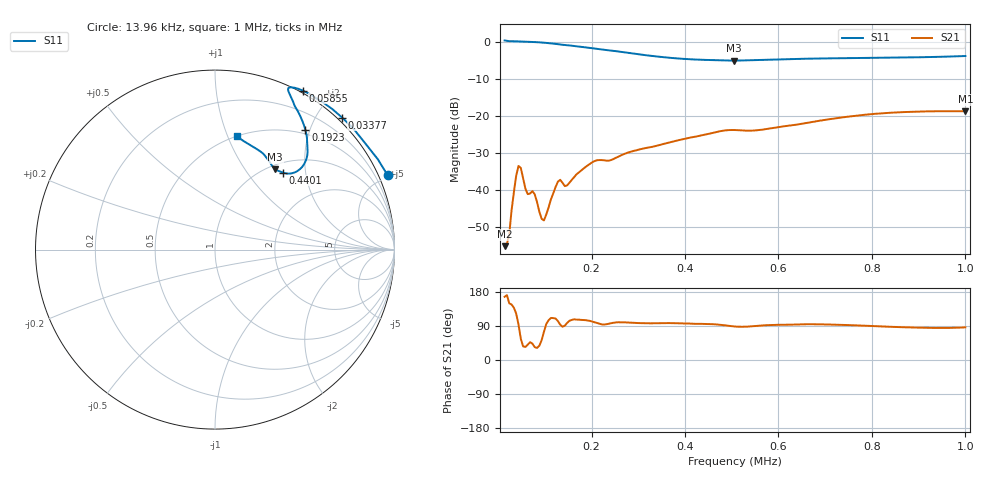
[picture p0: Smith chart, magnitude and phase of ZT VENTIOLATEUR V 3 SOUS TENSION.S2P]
!Agilent Technologies,E5071C,MY46109397,A.09.54
!Date: Mon Jan 01 02:14:59 2001
!Data & Calibration Information:
!Freq	S11:SOLT1(ON)	S21:RESPT(ON)	S12:NONE(--)	S22:NONE(--)
# Hz S RI R 50
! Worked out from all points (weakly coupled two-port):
!   200 points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, 13.96 kHz to 1 MHz, reference 50 ohm
!   highest |S21| = -18.74 dB at 1 MHz (marker M1); lowest = -55.3 dB at 13.96 kHz (marker M2)
!   lowest |S11| = -5.0 dB at 504.5 kHz (marker M3), VSWR 3.54, Z = 53.4 + j69.7 ohm
!   |S11| at or under -10 dB: nowhere
!   S12 and S22 are empty: the file has one direction only
!   S11 on the Smith chart (normalised r, x): 13.96 kHz: -0.56, +4.78; 33.77 kHz: -0.07, +2.35; 58.55 kHz: -0.02, +1.69; 192.3 kHz: 0.43, +1.93; 440.1 kHz: 1.18, +1.51; 1 MHz: 0.50, +1.08
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13955  0.9615 0.4147  -0.00168 0.000393  0 0  0 0
18910  0.9073 0.5032  -0.00184 0.000283  0 0  0 0
23865  0.8333 0.5969  -0.00215 0.00126  0 0  0 0
33775  0.7089 0.7352  -0.00688 0.00617  0 0  0 0
43685  0.6021 0.8197  -0.00131 0.0209  0 0  0 0
48640  0.5559 0.8485  0.0111 0.0163  0 0  0 0
58550  0.4892 0.8858  0.0085 0.00584  0 0  0 0
63505  0.4648 0.8956  0.0066 0.00571  0 0  0 0
78370  0.419 0.9043  0.00719 0.00484  0 0  0 0
93235  0.4073 0.8937  0.00246 0.0032  0 0  0 0
98190  0.408 0.887  0.00102 0.00371  0 0  0 0
127920  0.4351 0.8242  -0.00286 0.0125  0 0  0 0
147740  0.4567 0.7795  -0.00156 0.0114  0 0  0 0
182425  0.4958 0.6925  -0.00518 0.0186  0 0  0 0
192335  0.5034 0.6678  -0.00529 0.0208  0 0  0 0
345940  0.4547 0.4351  -0.00516 0.04  0 0  0 0
440085  0.3788 0.429  -0.00503 0.0549  0 0  0 0
504500  0.3348 0.4482  0.00153 0.0644  0 0  0 0
509455  0.3315 0.451  0.00199 0.0642  0 0  0 0
672970  0.2751 0.5276  -0.00629 0.0826  0 0  0 0
836485  0.2082 0.5745  0.00423 0.1098  0 0  0 0
1000000  0.1228 0.6331  0.00784 0.1154  0 0  0 0
